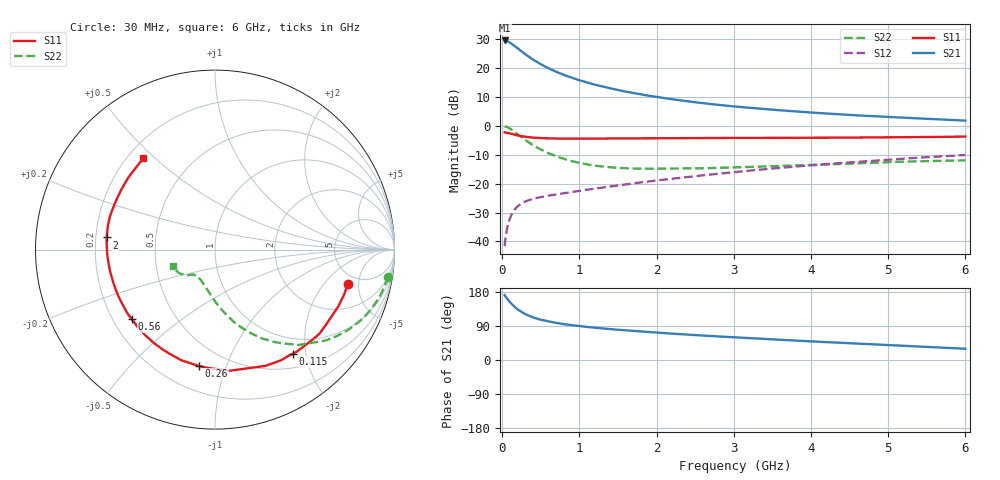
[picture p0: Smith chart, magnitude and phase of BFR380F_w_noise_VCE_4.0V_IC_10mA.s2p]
! Infineon Technologies  Discrete & RF Semiconductors
! BFR380F
! VCE =  4.0 V,  IC =  10 mA
! Common Emitter S-Parameters:  Nov 2015
# GHz  S  MA  R  50
!  f  S11  S21  S12  S22
! GHz  MAG  ANG  MAG  ANG  MAG  ANG  MAG  ANG
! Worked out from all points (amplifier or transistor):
!   206 points, 30 MHz to 6 GHz, reference 50 ohm
!   highest |S21| = 29.4 dB at 30 MHz (marker M1)
!   |S21| within 3 dB of that: start of sweep to 212.3 MHz
!   unconditionally stable (mu >= 1): 1.796 GHz to 4.988 GHz
!   at 200 MHz: K = 0.22, MSG = 27.2 dB, |S12| = -27.8 dB
!   at 1.56 GHz: K = 0.96, MSG = 16.2 dB, |S12| = -20.4 dB
!   at 6 GHz: K = 0.97, MSG = 5.9 dB, |S12| = -10.2 dB
!   lowest NFmin = 0.86 dB at 900 MHz
!   S11 on the Smith chart (normalised r, x): 30 MHz: 3.96, -3.69; 115 MHz: 0.72, -1.76; 260 MHz: 0.36, -0.81; 560 MHz: 0.28, -0.34; 2 GHz: 0.25, +0.05; 6 GHz: 0.26, +0.46
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0.03  0.765 -14.6  29.54 171.1  0.0083 83.0  0.975 -9.0
0.05  0.7563 -24.8  29.24 165.0  0.0134 78.0  0.9582 -14.8
0.07  0.7469 -34.1  28.45 159.8  0.0186 74.4  0.9334 -20.4
0.1  0.7322 -47.2  27.01 152.6  0.0252 68.7  0.8865 -28.1
0.115  0.7238 -53.3  26.18 149.3  0.0281 66.1  0.8604 -31.7
0.15  0.7057 -66.7  24.29 142.0  0.0341 60.9  0.7979 -39.4
0.2  0.68 -82.9  21.53 133.2  0.0407 55.1  0.7091 -48.5
0.26  0.6546 -97.9  18.68 125.4  0.0462 50.3  0.6165 -56.8
0.3  0.6443 -106.9  17.02 120.7  0.0492 48.1  0.5626 -61.9
0.4  0.6223 -123.1  13.76 112.3  0.0544 44.8  0.4591 -71.2
0.48  0.6113 -132.7  11.87 107.3  0.0577 43.8  0.3991 -77.0
0.56  0.6045 -140.1  10.43 103.6  0.0605 43.7  0.354 -81.6
0.68  0.5994 -149.0  8.736 98.6  0.0645 44.3  0.3024 -88.0
0.8  0.5973 -155.8  7.494 94.5  0.0682 45.3  0.2659 -93.4
1.04  0.5955 -165.5  5.853 88.6  0.0763 48.1  0.2219 -102.1
1.4  0.6 -175.5  4.392 81.5  0.0892 52.0  0.191 -112.9
2  0.6073 173.6  3.122 72.2  0.113 56.6  0.1801 -124.0
2.02  0.6074 173.3  3.095 72.0  0.1138 56.7  0.1801 -124.3
3.1  0.6134 160.1  2.09 58.9  0.1621 60.3  0.1917 -133.4
4.1  0.6183 148.9  1.65 48.2  0.2117 59.9  0.2111 -137.5
5.1  0.6293 138.6  1.391 38.5  0.2634 57.7  0.2366 -146.3
6  0.6472 128.0  1.22 29.7  0.3108 54.0  0.2513 -158.8
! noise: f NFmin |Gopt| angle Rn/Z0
0.45  0.87  0.09  98  0.09
0.9  0.86  0.18  132  0.08
1.8  1.14  0.33  166  0.08
1.9  1.23  0.34  167  0.07
2.4  1.37  0.37  -178  0.08
3.5  2  0.48  -160  0.11
